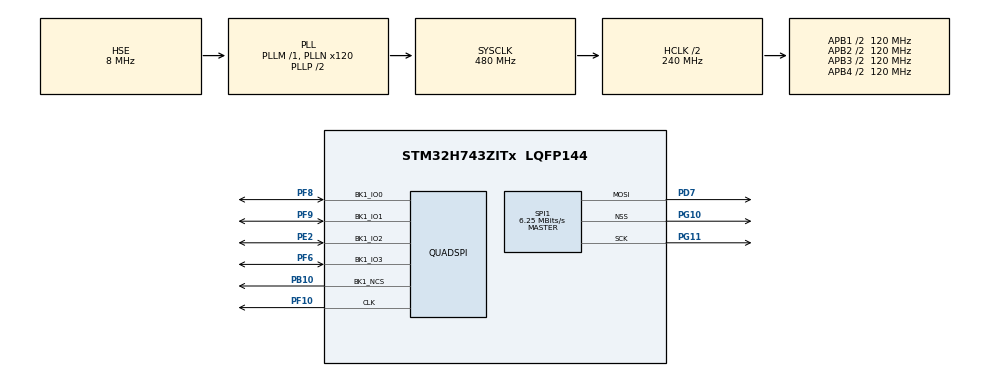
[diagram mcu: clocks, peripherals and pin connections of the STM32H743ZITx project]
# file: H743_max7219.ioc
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Mcu.Family=STM32H7
SPI1.MasterSSIdleness=SPI_MASTER_SS_IDLENESS_02CYCLE
PD7.Mode=TX_Only_Simplex_Unidirect_Master
Dma.SPI1_TX.0.MemInc=DMA_MINC_ENABLE
Dma.SPI1_TX.0.EventEnable=DISABLE
Dma.SPI1_TX.0.PeriphInc=DMA_PINC_DISABLE
RCC.CortexFreq_Value=480000000
SPI1.VirtualType=VM_MASTER
PB10.Mode=Single Bank 1
RCC.HPRE=RCC_HCLK_DIV2
PH0-OSC_IN\ (PH0).Signal=RCC_OSC_IN
PC15-OSC32_OUT\ (OSC32_OUT).Mode=LSE-External-Oscillator
Dma.SPI1_TX.0.SyncRequestNumber=1
PG10.GPIO_PuPd=GPIO_PULLUP
PG11.Signal=SPI1_SCK
RCC.SYSCLKSource=RCC_SYSCLKSOURCE_PLLCLK
ProjectManager.StackSize=0x400
RCC.SPI123CLockSelection=RCC_SPI123CLKSOURCE_PLL2
PA14\ (JTCK/SWCLK).Signal=DEBUG_JTCK-SWCLK
CORTEX_M7.Enable-Cortex_Memory_Protection_Unit_Region0_Settings=MPU_REGION_ENABLE
PD7.GPIO_PuPd=GPIO_PULLUP
SPI1.Direction=SPI_DIRECTION_2LINES_TXONLY
PG11.GPIO_PuPd=GPIO_PULLUP
RCC.HCLKFreq_Value=240000000
PE2.Mode=Single Bank 1
SPI1.CalculateBaudRate=6.25 MBits/s
PH1-OSC_OUT\ (PH1).Mode=HSE-External-Oscillator
RCC.HSE_VALUE=8000000
RCC.DIVM3=4
RCC.DIVM2=8
RCC.DIVM1=1
PD7.GPIO_Speed=GPIO_SPEED_FREQ_HIGH
PF9.Mode=Single Bank 1
SPI1.DataSize=SPI_DATASIZE_32BIT
PE2.Signal=QUADSPI_BK1_IO2
PF8.Mode=Single Bank 1
PA14\ (JTCK/SWCLK).Mode=Trace_Asynchronous_SW
SPI1.VirtualNSS=VM_NSSHARD
Dma.SPI1_TX.0.RequestNumber=1
Dma.SPI1_TX.0.Polarity=HAL_DMAMUX_REQ_GEN_RISING
RCC.APB3Freq_Value=120000000
Dma.SPI1_TX.0.Mode=DMA_NORMAL
Mcu.Package=LQFP144
Dma.SPI1_TX.0.SyncEnable=DISABLE
RCC.D1PPRE=RCC_APB3_DIV2
PF8.Signal=QUADSPI_BK1_IO0
PC14-OSC32_IN\ (OSC32_IN).Mode=LSE-External-Oscillator
RCC.APB4Freq_Value=120000000
NVIC.DMA1_Stream0_IRQn=true\:0\:0\:false\:false\:true\:false\:true
PF10.Mode=Single Bank 1
Dma.SPI1_TX.0.SyncSignalID=NONE
Dma.Request0=SPI1_TX
SPI1.BaudRatePrescaler=SPI_BAUDRATEPRESCALER_16
PH0-OSC_IN\ (PH0).Mode=HSE-External-Oscillator
CORTEX_M7.IsBufferable-Cortex_Memory_Protection_Unit_Region0_Settings=MPU_ACCESS_BUFFERABLE
RCC.PLLSourceVirtual=RCC_PLLSOURCE_HSE
CORTEX_M7.CPU_ICache=Enabled
RCC.DIVQ2=4
RCC.DIVQ1=8
PA13\ (JTMS/SWDIO).Mode=Trace_Asynchronous_SW
SPI1.FifoThreshold=SPI_FIFO_THRESHOLD_04DATA
CORTEX_M7.IsCacheable-Cortex_Memory_Protection_Unit_Region0_Settings=MPU_ACCESS_CACHEABLE
PG10.Mode=NSS_Signal_Hard_Output
PD7.Signal=SPI1_MOSI
RCC.D2PPRE2=RCC_APB2_DIV2
RCC.D2PPRE1=RCC_APB1_DIV2
Dma.SPI1_TX.0.MemBurst=DMA_MBURST_SINGLE
PH1-OSC_OUT\ (PH1).Signal=RCC_OSC_OUT
PG10.Signal=SPI1_NSS
Dma.SPI1_TX.0.SignalID=NONE
Dma.SPI1_TX.0.FIFOThreshold=DMA_FIFO_THRESHOLD_FULL
CORTEX_M7.MPU_Control=MPU_PRIVILEGED_DEFAULT
Dma.SPI1_TX.0.FIFOMode=DMA_FIFOMODE_ENABLE
PF6.Signal=QUADSPI_BK1_IO3
PB3\ (JTDO/TRACESWO).Signal=DEBUG_JTDO-SWO
ProjectManager.TargetToolchain=STM32CubeIDE
PC15-OSC32_OUT\ (OSC32_OUT).Signal=RCC_OSC32_OUT
Dma.SPI1_TX.0.PeriphDataAlignment=DMA_PDATAALIGN_WORD
Dma.SPI1_TX.0.Direction=DMA_MEMORY_TO_PERIPH
RCC.DIVN3=80
RCC.DIVN2=200
RCC.DIVN1=120
Dma.SPI1_TX.0.SyncPolarity=HAL_DMAMUX_SYNC_NO_EVENT
CORTEX_M7.BaseAddress-Cortex_Memory_Protection_Unit_Region0_Settings=0x30000000
RCC.USBFreq_Value=120000000
PB10.Signal=QUADSPI_BK1_NCS
board=custom
NVIC.SPI1_IRQn=true\:0\:0\:false\:false\:true\:false\:true
RCC.APB2Freq_Value=120000000
SPI1.Mode=SPI_MODE_MASTER
PF10.Signal=QUADSPI_CLK
CORTEX_M7.IsShareable-Cortex_Memory_Protection_Unit_Region0_Settings=MPU_ACCESS_SHAREABLE
RCC.ADCFreq_Value=100000000
CORTEX_M7.AccessPermission-Cortex_Memory_Protection_Unit_Region0_Settings=MPU_REGION_FULL_ACCESS
Dma.SPI1_TX.0.Instance=DMA1_Stream0
Mcu.Name=STM32H743ZITx
CORTEX_M7.Size-Cortex_Memory_Protection_Unit_Region0_Settings=MPU_REGION_SIZE_32B
RCC.SYSCLKFreq_VALUE=480000000
PC14-OSC32_IN\ (OSC32_IN).Signal=RCC_OSC32_IN
SPI1.MasterInterDataIdleness=SPI_MASTER_INTERDATA_IDLENESS_02CYCLE
PG11.Mode=TX_Only_Simplex_Unidirect_Master
ProjectManager.HeapSize=0x200
Dma.SPI1_TX.0.MemDataAlignment=DMA_MDATAALIGN_WORD
Dma.SPI1_TX.0.Priority=DMA_PRIORITY_LOW
PF6.Mode=Single Bank 1
PF9.Signal=QUADSPI_BK1_IO1
NVIC.PriorityGroup=NVIC_PRIORITYGROUP_4
PB3\ (JTDO/TRACESWO).Mode=Trace_Asynchronous_SW
Dma.SPI1_TX.0.PeriphBurst=DMA_PBURST_SINGLE
RCC.D3PPRE=RCC_APB4_DIV2
CORTEX_M7.CPU_DCache=Enabled
RCC.APB1Freq_Value=120000000
RCC.DIVR1=20
PA13\ (JTMS/SWDIO).Signal=DEBUG_JTMS-SWDIO

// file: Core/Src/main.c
/* USER CODE BEGIN Header */
/**
 ******************************************************************************
 * @file           : main.c
 * @brief          : Main program body
 ******************************************************************************
 * @attention
 *
 * <h2><center>&copy; Copyright (c) 2021 STMicroelectronics.
 * All rights reserved.</center></h2>
 *
 * This software component is licensed by ST under BSD 3-Clause license,
 * the "License"; You may not use this file except in compliance with the
 * License. You may obtain a copy of the License at:
 *                        opensource.org/licenses/BSD-3-Clause
 *
 ******************************************************************************
 */
/* USER CODE END Header */
#include "main.h"

/* USER CODE BEGIN Includes */
#include "max7219.h"
/* USER CODE END Includes */

SPI_HandleTypeDef hspi1;
DMA_HandleTypeDef hdma_spi1_tx;

void SystemClock_Config(void);
static void MPU_Config(void);
static void MX_GPIO_Init(void);
static void MX_DMA_Init(void);
static void MX_SPI1_Init(void);

int main(void)
{

	/* MPU Configuration--------------------------------------------------------*/
	MPU_Config();
	/* Enable I-Cache---------------------------------------------------------*/
	SCB_EnableICache();

	/* Enable D-Cache---------------------------------------------------------*/
	SCB_EnableDCache();

	/* MCU Configuration--------------------------------------------------------*/

	/* Reset of all peripherals, Initializes the Flash interface and the Systick. */
	HAL_Init();

	/* Configure the system clock */
	SystemClock_Config();

	/* Initialize all configured peripherals */
	MX_GPIO_Init();
	MX_DMA_Init();
	MX_SPI1_Init();
	/* USER CODE BEGIN 2 */
	max7219_Init(0xf);
	/* USER CODE END 2 */

	/* Infinite loop */
	/* USER CODE BEGIN WHILE */
	while (1)
	{
		// HAL_GPIO_WritePin(GPIOE, GPIO_PIN_0, GPIO_PIN_SET);
		//	HAL_GPIO_WritePin(GPIOE, GPIO_PIN_1, GPIO_PIN_SET);
		HAL_GPIO_WritePin(GPIOF, GPIO_PIN_2, GPIO_PIN_SET);
		HAL_GPIO_WritePin(GPIOF, GPIO_PIN_3, GPIO_PIN_SET);

//		max7219_Clean();
		for (uint8_t i = 0; i < 10; i++)
		{
			for (uint8_t n = 1; n < 17; n++)
			{
				max7219_PrintCharToBuf(n, (char) i + 48, false);
			}
			max7219_SendDispBuf();
			HAL_Delay(500);

		}

		max7219_Clean();
		max7219_PrintFtosToBuf(16, -3.14, 2);
		max7219_SendDispBuf();
		max7219_PrintCharToBuf(12, 'V', false);
		max7219_PrintCharToBuf(11, 'L', false);
		max7219_PrintCharToBuf(10, 'A', false);
		max7219_PrintCharToBuf(9, 'D', false);
//		max7219_PrintDigitToBuf(DIGIT_12, LETTER_H, false);
//		max7219_PrintDigitToBuf(DIGIT_11, LETTER_E, false);
//		max7219_PrintDigitToBuf(DIGIT_10, LETTER_L, false);
//		max7219_PrintDigitToBuf(DIGIT_9, LETTER_P, false);
		max7219_PrintNtosToBuf(8, 65, 4);
		max7219_PrintItosToBuf(4, -432);
		max7219_SendDispBuf();

		HAL_GPIO_WritePin(GPIOE, GPIO_PIN_0, GPIO_PIN_RESET);
		HAL_GPIO_WritePin(GPIOE, GPIO_PIN_1, GPIO_PIN_RESET);
		HAL_GPIO_WritePin(GPIOF, GPIO_PIN_2, GPIO_PIN_RESET);
		HAL_GPIO_WritePin(GPIOF, GPIO_PIN_3, GPIO_PIN_RESET);

		HAL_Delay(1000);

		/* USER CODE END WHILE */

	}
}

void SystemClock_Config(void)
{
	RCC_OscInitTypeDef RCC_OscInitStruct = { 0 };
	RCC_ClkInitTypeDef RCC_ClkInitStruct = { 0 };

	/** Supply configuration update enable
	 */
	HAL_PWREx_ConfigSupply(PWR_LDO_SUPPLY);
	/** Configure the main internal regulator output voltage
	 */
	__HAL_PWR_VOLTAGESCALING_CONFIG(PWR_REGULATOR_VOLTAGE_SCALE0);

	while (!__HAL_PWR_GET_FLAG(PWR_FLAG_VOSRDY))
	{
	}
	/** Macro to configure the PLL clock source
	 */
	__HAL_RCC_PLL_PLLSOURCE_CONFIG(RCC_PLLSOURCE_HSE);
	/** Initializes the RCC Oscillators according to the specified parameters
	 * in the RCC_OscInitTypeDef structure.
	 */
	RCC_OscInitStruct.OscillatorType = RCC_OSCILLATORTYPE_HSE;
	RCC_OscInitStruct.HSEState = RCC_HSE_ON;
	RCC_OscInitStruct.PLL.PLLState = RCC_PLL_ON;
	RCC_OscInitStruct.PLL.PLLSource = RCC_PLLSOURCE_HSE;
	RCC_OscInitStruct.PLL.PLLM = 1;
	RCC_OscInitStruct.PLL.PLLN = 120;
	RCC_OscInitStruct.PLL.PLLP = 2;
	RCC_OscInitStruct.PLL.PLLQ = 8;
	RCC_OscInitStruct.PLL.PLLR = 20;
	RCC_OscInitStruct.PLL.PLLRGE = RCC_PLL1VCIRANGE_3;
	RCC_OscInitStruct.PLL.PLLVCOSEL = RCC_PLL1VCOWIDE;
	RCC_OscInitStruct.PLL.PLLFRACN = 0;
	if (HAL_RCC_OscConfig(&RCC_OscInitStruct) != HAL_OK)
	{
		Error_Handler();
	}
	/** Initializes the CPU, AHB and APB buses clocks
	 */
	RCC_ClkInitStruct.ClockType = RCC_CLOCKTYPE_HCLK | RCC_CLOCKTYPE_SYSCLK | RCC_CLOCKTYPE_PCLK1 | RCC_CLOCKTYPE_PCLK2 | RCC_CLOCKTYPE_D3PCLK1 | RCC_CLOCKTYPE_D1PCLK1;
	RCC_ClkInitStruct.SYSCLKSource = RCC_SYSCLKSOURCE_PLLCLK;
	RCC_ClkInitStruct.SYSCLKDivider = RCC_SYSCLK_DIV1;
	RCC_ClkInitStruct.AHBCLKDivider = RCC_HCLK_DIV2;
	RCC_ClkInitStruct.APB3CLKDivider = RCC_APB3_DIV2;
	RCC_ClkInitStruct.APB1CLKDivider = RCC_APB1_DIV2;
	RCC_ClkInitStruct.APB2CLKDivider = RCC_APB2_DIV2;
	RCC_ClkInitStruct.APB4CLKDivider = RCC_APB4_DIV2;

	if (HAL_RCC_ClockConfig(&RCC_ClkInitStruct, FLASH_LATENCY_4) != HAL_OK)
	{
		Error_Handler();
	}
}

static void MX_SPI1_Init(void)
{

	/* SPI1 parameter configuration*/
	hspi1.Instance = SPI1;
	hspi1.Init.Mode = SPI_MODE_MASTER;
	hspi1.Init.Direction = SPI_DIRECTION_2LINES_TXONLY;
	hspi1.Init.DataSize = SPI_DATASIZE_32BIT;
	hspi1.Init.CLKPolarity = SPI_POLARITY_LOW;
	hspi1.Init.CLKPhase = SPI_PHASE_1EDGE;
	hspi1.Init.NSS = SPI_NSS_HARD_OUTPUT;
	hspi1.Init.BaudRatePrescaler = SPI_BAUDRATEPRESCALER_16;
	hspi1.Init.FirstBit = SPI_FIRSTBIT_MSB;
	hspi1.Init.TIMode = SPI_TIMODE_DISABLE;
	hspi1.Init.CRCCalculation = SPI_CRCCALCULATION_DISABLE;
	hspi1.Init.CRCPolynomial = 0x0;
	hspi1.Init.NSSPMode = SPI_NSS_PULSE_ENABLE;
	hspi1.Init.NSSPolarity = SPI_NSS_POLARITY_LOW;
	hspi1.Init.FifoThreshold = SPI_FIFO_THRESHOLD_04DATA;
	hspi1.Init.TxCRCInitializationPattern = SPI_CRC_INITIALIZATION_ALL_ZERO_PATTERN;
	hspi1.Init.RxCRCInitializationPattern = SPI_CRC_INITIALIZATION_ALL_ZERO_PATTERN;
	hspi1.Init.MasterSSIdleness = SPI_MASTER_SS_IDLENESS_02CYCLE;
	hspi1.Init.MasterInterDataIdleness = SPI_MASTER_INTERDATA_IDLENESS_02CYCLE;
	hspi1.Init.MasterReceiverAutoSusp = SPI_MASTER_RX_AUTOSUSP_DISABLE;
	hspi1.Init.MasterKeepIOState = SPI_MASTER_KEEP_IO_STATE_DISABLE;
	hspi1.Init.IOSwap = SPI_IO_SWAP_DISABLE;
	if (HAL_SPI_Init(&hspi1) != HAL_OK)
	{
		Error_Handler();
	}

}

static void MX_DMA_Init(void)
{

	/* DMA controller clock enable */
	__HAL_RCC_DMA1_CLK_ENABLE();

	/* DMA interrupt init */
	/* DMA1_Stream0_IRQn interrupt configuration */
	HAL_NVIC_SetPriority(DMA1_Stream0_IRQn, 0, 0);
	HAL_NVIC_EnableIRQ(DMA1_Stream0_IRQn);

}

static void MX_GPIO_Init(void)
{

	/* GPIO Ports Clock Enable */
	__HAL_RCC_GPIOC_CLK_ENABLE();
	__HAL_RCC_GPIOH_CLK_ENABLE();
	__HAL_RCC_GPIOA_CLK_ENABLE();
	__HAL_RCC_GPIOD_CLK_ENABLE();
	__HAL_RCC_GPIOG_CLK_ENABLE();
	__HAL_RCC_GPIOB_CLK_ENABLE();

}

/* MPU Configuration */

void MPU_Config(void)
{
	MPU_Region_InitTypeDef MPU_InitStruct = { 0 };

	/* Disables the MPU */
	HAL_MPU_Disable();
	/** Initializes and configures the Region and the memory to be protected
	 */
	MPU_InitStruct.Enable = MPU_REGION_ENABLE;
	MPU_InitStruct.Number = MPU_REGION_NUMBER0;
	MPU_InitStruct.BaseAddress = 0x30000000;
	MPU_InitStruct.Size = MPU_REGION_SIZE_32B;
	MPU_InitStruct.SubRegionDisable = 0x0;
	MPU_InitStruct.TypeExtField = MPU_TEX_LEVEL0;
	MPU_InitStruct.AccessPermission = MPU_REGION_FULL_ACCESS;
	MPU_InitStruct.DisableExec = MPU_INSTRUCTION_ACCESS_ENABLE;
	MPU_InitStruct.IsShareable = MPU_ACCESS_SHAREABLE;
	MPU_InitStruct.IsCacheable = MPU_ACCESS_CACHEABLE;
	MPU_InitStruct.IsBufferable = MPU_ACCESS_BUFFERABLE;

	HAL_MPU_ConfigRegion(&MPU_InitStruct);
	/* Enables the MPU */
	HAL_MPU_Enable(MPU_PRIVILEGED_DEFAULT);

}

void Error_Handler(void)
{
	__disable_irq();
	while (1)
	{
	}
}

/************************ (C) COPYRIGHT STMicroelectronics *****END OF FILE****/
